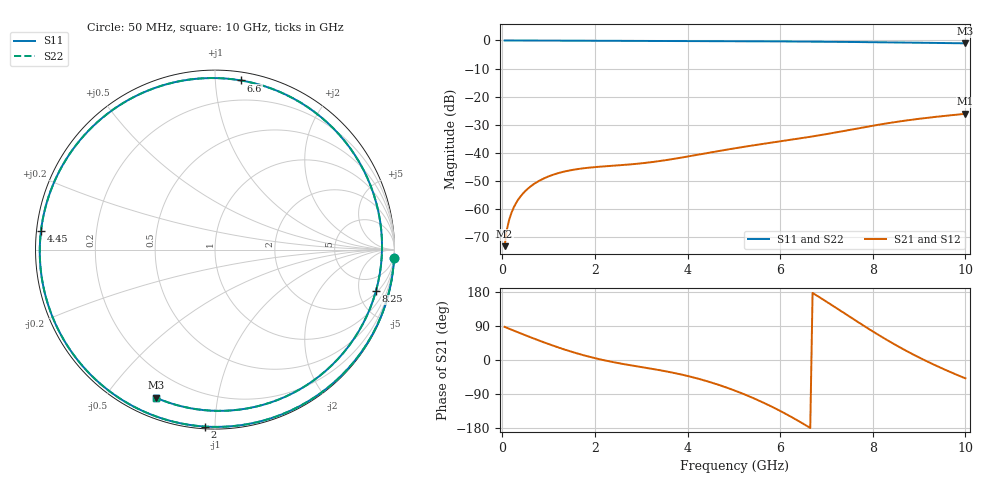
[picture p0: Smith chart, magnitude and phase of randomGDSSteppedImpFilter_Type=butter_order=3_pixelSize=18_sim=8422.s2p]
! freq	dB(S11)	phase(S11)	dB(S12)	phase(S12)
!  dB(S21)	phase(S21)	dB(S22)	phase(S22)
!S-par simulation data
#  GHz  S  DB  R 50
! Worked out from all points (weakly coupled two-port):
!   200 points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, 50 MHz to 10 GHz, reference 50 ohm
!   highest |S21| = -26.12 dB at 10 GHz (marker M1); lowest = -73.2 dB at 50 MHz (marker M2)
!   lowest |S11| = -1.0 dB at 10 GHz (marker M3), VSWR 16.93, Z = 4.3 - j33.7 ohm
!   |S11| at or under -10 dB: nowhere
!   |S22| runs from -1.0 to 0.0 dB; largest |S21 - S12| = 0
!   S11 on the Smith chart (normalised r, x): 50 MHz: 1, -45; 2 GHz: 0.01, -0.94; 4.45 GHz: 0.01, +0.05; 6.6 GHz: 0.06, +1.16; 8.25 GHz: 2.21, -7.19; 10 GHz: 0.09, -0.67
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0.05  -0.01 -2.5  -73.21 87.4  -73.21 87.4  -0.01 -2.5
0.1  -0.01 -5.0  -67.21 84.9  -67.21 84.9  -0.01 -5.0
0.2  -0.02 -10.0  -61.24 79.9  -61.24 79.9  -0.02 -10.0
0.5  -0.03 -24.9  -53.54 65.2  -53.54 65.2  -0.03 -24.9
1.15  -0.07 -56.0  -47.50 35.6  -47.50 35.6  -0.07 -56.0
1.75  -0.10 -82.8  -45.50 12.8  -45.50 12.8  -0.10 -82.8
2  -0.11 -93.4  -45.07 4.9  -45.07 4.9  -0.11 -93.4
2.65  -0.13 -119.4  -44.27 -11.4  -44.27 -11.4  -0.13 -119.4
3.4  -0.16 -147.7  -42.92 -26.9  -42.92 -26.9  -0.16 -147.6
4.45  -0.22 173.9  -40.00 -57.0  -40.00 -57.0  -0.22 173.9
5.05  -0.26 150.9  -38.30 -82.0  -38.30 -82.0  -0.26 151.0
5.9  -0.33 115.2  -36.15 -128.1  -36.15 -128.1  -0.33 115.2
6.6  -0.41 81.3  -34.42 -175.6  -34.42 -175.6  -0.41 81.3
6.7  -0.43 76.1  -34.16 177.0  -34.16 177.0  -0.43 76.1
7.1  -0.48 54.2  -33.04 146.1  -33.04 146.1  -0.48 54.3
7.55  -0.55 28.0  -31.69 110.4  -31.69 110.4  -0.55 28.1
7.9  -0.61 6.9  -30.64 83.1  -30.64 83.1  -0.61 6.9
8.25  -0.67 -14.5  -29.66 56.9  -29.66 56.9  -0.67 -14.4
8.35  -0.69 -20.6  -29.39 49.7  -29.39 49.7  -0.69 -20.5
9.15  -0.84 -67.3  -27.59 -2.4  -27.59 -2.4  -0.84 -67.2
9.55  -0.93 -89.0  -26.85 -25.1  -26.85 -25.1  -0.93 -88.9
10  -1.03 -111.8  -26.12 -48.5  -26.12 -48.5  -1.03 -111.7
